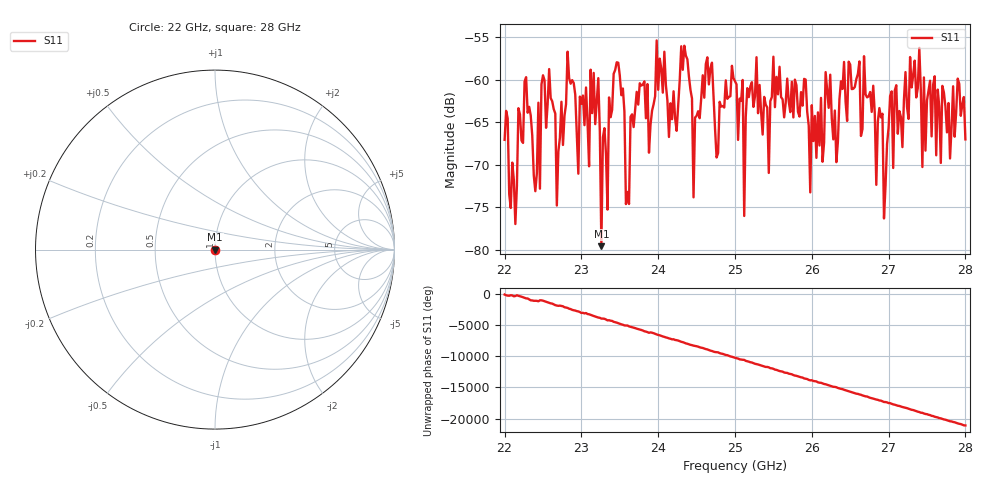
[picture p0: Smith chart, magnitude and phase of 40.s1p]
#  HZ  S  RI  R  50.00
! Rohde & Schwarz ZVA40 4Ports - Version 3.90 - 1145.1110k42 SN: 100403
! Date: 2023-10-04 11:30:25
! Measurement: S12
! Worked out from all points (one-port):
!   301 points, 22 GHz to 28 GHz, reference 50 ohm
!   lowest |S11| = -79.5 dB at 23.26 GHz (marker M1), VSWR 1.00, Z = 50 + j0.00289 ohm
!   |S11| at or under -10 dB: start of sweep to end of sweep
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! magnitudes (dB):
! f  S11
! 22 GHz  -67.1
! 22.76 GHz  -67.7
! 23.22 GHz  -59.8
! 23.26 GHz  -79.5
! 23.28 GHz  -66.8
! 23.5 GHz  -59.5
! 23.58 GHz  -74.6
! 23.98 GHz  -55.4
! 24.26 GHz  -63.0
! 24.38 GHz  -57.6
! 24.46 GHz  -73.8
! 24.64 GHz  -57.4
! 24.76 GHz  -69.1
! 25 GHz  -60.2
! 25.1 GHz  -60.0
! 25.12 GHz  -76.0
! 25.28 GHz  -57.4
! 25.44 GHz  -70.9
! 25.5 GHz  -57.3
! 25.76 GHz  -64.4
! 25.92 GHz  -60.0
! 25.98 GHz  -73.2
! 26.5 GHz  -58.2
! 26.92 GHz  -64.0
! 26.94 GHz  -76.3
! 27.02 GHz  -61.9
! 27.26 GHz  -64.6
! 28 GHz  -67.0
